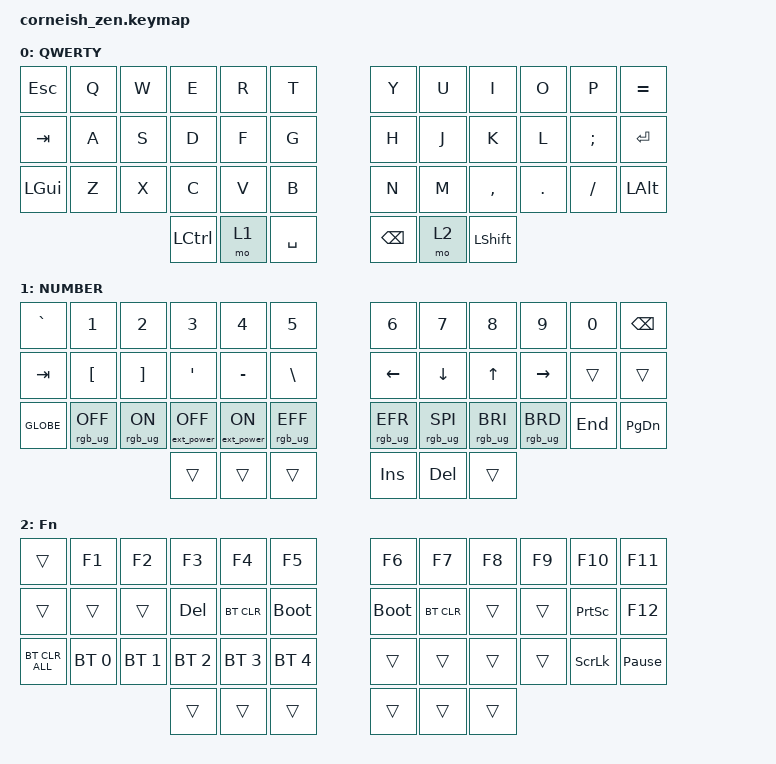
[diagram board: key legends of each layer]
/*
 * Copyright (c) 2020 The ZMK Contributors
 *
 * SPDX-License-Identifier: MIT
 */

#include <behaviors.dtsi>
#include <dt-bindings/zmk/bt.h>
#include <dt-bindings/zmk/ext_power.h>
#include <dt-bindings/zmk/keys.h>
#include <dt-bindings/zmk/rgb.h>

/ {
    chosen {
        zmk,matrix_transform = &default_transform;

        // zmk,matrix_transform = &five_column_transform;
    };
};

/ {
    behaviors {
        td0: td0 {
            compatible = "zmk,behavior-tap-dance";
            label = "TD0";
            #binding-cells = <0>;
            bindings = <&kp LEFT_SHIFT>, <&kp CAPS>;
        };
    };

    keymap {
        compatible = "zmk,keymap";

        default_layer {
            display-name = "QWERTY";

            // --------------------------------------------------------------------------------
            // |  ESC |  Q  |  W  |  E  |  R  |  T  |   |  Y  |  U   |  I  |  O  |  P  | = |
            // | TAB |  A  |  S  |  D  |  F  |  G  |   |  H  |  J   |  K  |  L  |  ;  |  ENTER   | 
            // | FN |  Z  |  X  |  C  |  V  |  B  |   |  N  |  M   |  ,  |  .  |  /  | ALT  |
            //                    | GUI | LWR | SPC |   |  BSPC | RSE  | SHFT |

            bindings = <
&kp ESC       &kp Q  &kp W  &kp E             &kp R  &kp T        &kp Y     &kp U  &kp I           &kp O    &kp P     &kp EQUAL
&kp TAB       &kp A  &kp S  &kp D             &kp F  &kp G        &kp H     &kp J  &kp K           &kp L    &kp SEMI  &kp ENTER
&kp LEFT_GUI  &kp Z  &kp X  &kp C             &kp V  &kp B        &kp N     &kp M  &kp COMMA       &kp DOT  &kp FSLH  &kp LALT
                            &kp LEFT_CONTROL  &mo 1  &kp SPACE    &kp BSPC  &mo 2  &kp LEFT_SHIFT
            >;
        };

        lower_layer {
            display-name = "NUMBER";

            // -----------------------------------------------------------------------------------------
            // | ` |  1  |  2  |  3  |  4  |  5  |   |  6  |  7  |  8  |  9  |  0  | BKSP |
            // | TAB | [ | ] | ' | - | \ |   | LFT | DWN |  UP | RGT |     |      |
            // | |     |     |     |     |     |   |     |     |     |     |     |      |
            //                    | GUI |     | SPC |   | ENT |     | ALT |

            bindings = <
&kp GRAVE  &kp N1           &kp N2          &kp N3             &kp N4            &kp N5             &kp N6           &kp N7           &kp N8           &kp N9           &kp N0   &kp BSPC
&kp TAB    &kp LBKT         &kp RBKT        &kp SQT            &kp MINUS         &kp BSLH           &kp LEFT         &kp DOWN         &kp UP           &kp RIGHT        &trans   &trans
&kp GLOBE  &rgb_ug RGB_OFF  &rgb_ug RGB_ON  &ext_power EP_OFF  &ext_power EP_ON  &rgb_ug RGB_EFF    &rgb_ug RGB_EFR  &rgb_ug RGB_SPI  &rgb_ug RGB_BRI  &rgb_ug RGB_BRD  &kp END  &kp PG_DN
                                            &trans             &trans            &trans             &kp INS          &kp DEL          &trans
            >;
        };

        raise_layer {
            display-name = "Fn";
            bindings = <
&trans          &kp F1        &kp F2        &kp F3        &kp F4        &kp F5          &kp F6       &kp F7      &kp F8  &kp F9  &kp F10          &kp F11
&trans          &trans        &trans        &kp DELETE    &bt BT_CLR    &bootloader     &bootloader  &bt BT_CLR  &trans  &trans  &kp PRINTSCREEN  &kp F12
&bt BT_CLR_ALL  &bt BT_SEL 0  &bt BT_SEL 1  &bt BT_SEL 2  &bt BT_SEL 3  &bt BT_SEL 4    &trans       &trans      &trans  &trans  &kp SCROLLLOCK   &kp PAUSE_BREAK
                                            &trans        &trans        &trans          &trans       &trans      &trans
            >;
        };
    };
};
